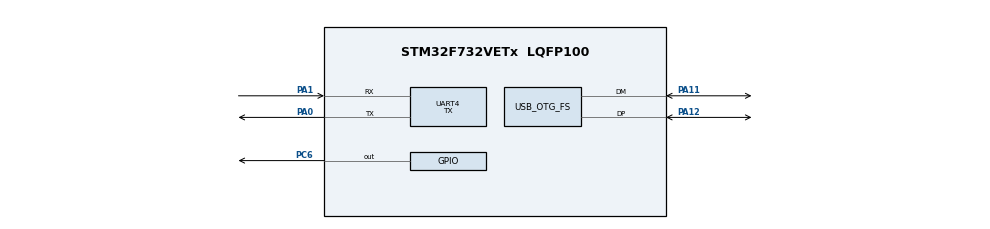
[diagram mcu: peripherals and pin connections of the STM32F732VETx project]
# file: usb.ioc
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Mcu.Family=STM32F7
Mcu.Name=STM32F732VETx
Mcu.Package=LQFP100
NVIC.OTG_FS_IRQn=true\:0\:0\:false\:false\:true\:false\:true
NVIC.PriorityGroup=NVIC_PRIORITYGROUP_4
PA0-WKUP.Mode=Asynchronous
PA0-WKUP.Signal=UART4_TX
PA1.Mode=Asynchronous
PA1.Signal=UART4_RX
PA11.Mode=Host_Only
PA11.Signal=USB_OTG_FS_DM
PA12.Mode=Host_Only
PA12.Signal=USB_OTG_FS_DP
PC6.Signal=GPIO_Output
ProjectManager.HeapSize=0x200
ProjectManager.StackSize=0x400
ProjectManager.TargetToolchain=STM32CubeIDE
RCC.HSE_VALUE=25000000
RCC.HSI_VALUE=16000000
RCC.PLLM=15
RCC.PLLN=135
RCC.PLLQ=3
RCC.PLLSourceVirtualString=RCC_PLLSOURCE_HSI
RCC.USBFreq_Value=48000000
RCC.VCOOutputFreq_Value=144000000
UART4.Mode=MODE_TX
USB_HOST.BSP.number=1
USB_HOST.USBH_HandleTypeDef-MSC_FS=hUsbHostFS
USB_HOST.VirtualModeFS=Msc
USB_HOST0.BSP.STBoard=false
USB_HOST0.BSP.api=Unknown
USB_HOST0.BSP.i2caddr=0
USB_HOST0.BSP.instance=PC6
USB_HOST0.BSP.ip=GPIO
USB_HOST0.BSP.mode=Output
USB_HOST0.BSP.name=Drive_VBUS_FS
USB_HOST0.BSP.solution=PC6
USB_OTG_FS.VirtualMode=Host_Only
USB_OTG_FS.phy_itface=HCD_PHY_EMBEDDED
VP_FATFS_VS_USB.Mode=USB
VP_USB_HOST_VS_USB_HOST_MSC_FS.Mode=MSC_FS
board=custom

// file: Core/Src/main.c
/* USER CODE BEGIN Header */
/**
  ******************************************************************************
  * @file           : main.c
  * @brief          : Main program body
  ******************************************************************************
  * @attention
  *
  * <h2><center>&copy; Copyright (c) 2021 STMicroelectronics.
  * All rights reserved.</center></h2>
  *
  * This software component is licensed by ST under BSD 3-Clause license,
  * the "License"; You may not use this file except in compliance with the
  * License. You may obtain a copy of the License at:
  *                        opensource.org/licenses/BSD-3-Clause
  *
  ******************************************************************************
  */
/* USER CODE END Header */
#include "main.h"
#include "fatfs.h"
#include "usb_host.h"

/* USER CODE BEGIN Includes */
#include "flash_if.h"
#include "commands.h"
#include "log.h"
#include "Config.h"
#include "bootloader.h"
/* USER CODE END Includes */

UART_HandleTypeDef huart4;

/* USER CODE BEGIN PV */
#ifdef __GNUC__
/* With GCC, small printf (option LD Linker->Libraries->Small printf
   set to 'Yes') calls __io_putchar() */
#define PUTCHAR_PROTOTYPE int __io_putchar(int ch)
#else
#define PUTCHAR_PROTOTYPE int fputc(int ch, FILE *f)
#endif /* __GNUC__ */

PUTCHAR_PROTOTYPE
{
  /* Place your implementation of fputc here */
  /* e.g. write a character to the USART3 and Loop until the end of transmission */
  HAL_UART_Transmit(&huart4, (uint8_t *)&ch, 1, 0xFFFF);

  return ch;
}

extern ApplicationTypeDef Appli_state;
/* USER CODE END PV */

void SystemClock_Config(void);
static void MX_GPIO_Init(void);
static void MX_UART4_Init(void);
void MX_USB_HOST_Process(void);

/* USER CODE BEGIN PFP */
static void USBEventHandler(void);
/* USER CODE END PFP */

int main(void)
{

  /* MCU Configuration--------------------------------------------------------*/

  /* Reset of all peripherals, Initializes the Flash interface and the Systick. */
  HAL_Init();

  /* Configure the system clock */
  SystemClock_Config();

  /* Initialize all configured peripherals */
  MX_GPIO_Init();
  MX_FATFS_Init();
  MX_USB_HOST_Init();
  MX_UART4_Init();
  /* USER CODE BEGIN 2 */
	BOOT_LOG("USB BOOTLOADER..\r\n");
	printf("Please insert USB stick in 10 seconds\r\n");
	while(1)
	{
		MX_USB_HOST_Process();
		USBEventHandler();
		if(no_usb_detected())
		{
			printf("No USB stick found..");
			printf("Exiting USB BOOTLOADER\r\n");
			BootAppImage();
			printf("starting user application\r\n");
			break;
		}
	}
  /* USER CODE END 2 */

  /* Infinite loop */
  while (1)
  {
    MX_USB_HOST_Process();

    /* USER CODE BEGIN 3 */
    //If code reaches here..
    //Reboot the hardware and connect the USB within couple of seconds.
  }
  /* USER CODE END 3 */
}

void SystemClock_Config(void)
{
  RCC_OscInitTypeDef RCC_OscInitStruct = {0};
  RCC_ClkInitTypeDef RCC_ClkInitStruct = {0};
  RCC_PeriphCLKInitTypeDef PeriphClkInitStruct = {0};

  /** Configure the main internal regulator output voltage
  */
  __HAL_RCC_PWR_CLK_ENABLE();
  __HAL_PWR_VOLTAGESCALING_CONFIG(PWR_REGULATOR_VOLTAGE_SCALE3);
  /** Initializes the RCC Oscillators according to the specified parameters
  * in the RCC_OscInitTypeDef structure.
  */
  RCC_OscInitStruct.OscillatorType = RCC_OSCILLATORTYPE_HSI;
  RCC_OscInitStruct.HSIState = RCC_HSI_ON;
  RCC_OscInitStruct.HSICalibrationValue = RCC_HSICALIBRATION_DEFAULT;
  RCC_OscInitStruct.PLL.PLLState = RCC_PLL_ON;
  RCC_OscInitStruct.PLL.PLLSource = RCC_PLLSOURCE_HSI;
  RCC_OscInitStruct.PLL.PLLM = 15;
  RCC_OscInitStruct.PLL.PLLN = 135;
  RCC_OscInitStruct.PLL.PLLP = RCC_PLLP_DIV2;
  RCC_OscInitStruct.PLL.PLLQ = 3;
  if (HAL_RCC_OscConfig(&RCC_OscInitStruct) != HAL_OK)
  {
    Error_Handler();
  }
  /** Initializes the CPU, AHB and APB buses clocks
  */
  RCC_ClkInitStruct.ClockType = RCC_CLOCKTYPE_HCLK|RCC_CLOCKTYPE_SYSCLK
                              |RCC_CLOCKTYPE_PCLK1|RCC_CLOCKTYPE_PCLK2;
  RCC_ClkInitStruct.SYSCLKSource = RCC_SYSCLKSOURCE_HSI;
  RCC_ClkInitStruct.AHBCLKDivider = RCC_SYSCLK_DIV1;
  RCC_ClkInitStruct.APB1CLKDivider = RCC_HCLK_DIV1;
  RCC_ClkInitStruct.APB2CLKDivider = RCC_HCLK_DIV1;

  if (HAL_RCC_ClockConfig(&RCC_ClkInitStruct, FLASH_LATENCY_0) != HAL_OK)
  {
    Error_Handler();
  }
  PeriphClkInitStruct.PeriphClockSelection = RCC_PERIPHCLK_UART4|RCC_PERIPHCLK_CLK48;
  PeriphClkInitStruct.Uart4ClockSelection = RCC_UART4CLKSOURCE_PCLK1;
  PeriphClkInitStruct.Clk48ClockSelection = RCC_CLK48SOURCE_PLL;
  if (HAL_RCCEx_PeriphCLKConfig(&PeriphClkInitStruct) != HAL_OK)
  {
    Error_Handler();
  }
}

static void MX_UART4_Init(void)
{

  huart4.Instance = UART4;
  huart4.Init.BaudRate = 115200;
  huart4.Init.WordLength = UART_WORDLENGTH_8B;
  huart4.Init.StopBits = UART_STOPBITS_1;
  huart4.Init.Parity = UART_PARITY_NONE;
  huart4.Init.Mode = UART_MODE_TX;
  huart4.Init.HwFlowCtl = UART_HWCONTROL_NONE;
  huart4.Init.OverSampling = UART_OVERSAMPLING_16;
  huart4.Init.OneBitSampling = UART_ONE_BIT_SAMPLE_DISABLE;
  huart4.AdvancedInit.AdvFeatureInit = UART_ADVFEATURE_NO_INIT;
  if (HAL_UART_Init(&huart4) != HAL_OK)
  {
    Error_Handler();
  }

}

static void MX_GPIO_Init(void)
{
  GPIO_InitTypeDef GPIO_InitStruct = {0};

  /* GPIO Ports Clock Enable */
  __HAL_RCC_GPIOA_CLK_ENABLE();
  __HAL_RCC_GPIOC_CLK_ENABLE();

  /*Configure GPIO pin Output Level */
  HAL_GPIO_WritePin(GPIOC, GPIO_PIN_6, GPIO_PIN_RESET);

  /*Configure GPIO pin : PC6 */
  GPIO_InitStruct.Pin = GPIO_PIN_6;
  GPIO_InitStruct.Mode = GPIO_MODE_OUTPUT_PP;
  GPIO_InitStruct.Pull = GPIO_NOPULL;
  GPIO_InitStruct.Speed = GPIO_SPEED_FREQ_LOW;
  HAL_GPIO_Init(GPIOC, &GPIO_InitStruct);

}

/* USER CODE BEGIN 4 */
void USBEventHandler(void)
{
	switch(Appli_state)
	{
		case APPLICATION_IDLE:
			break;

		case APPLICATION_START:
			if(COMMAND_PREPARE_USB() == 0)
			{
				//
			}
			break;

		case APPLICATION_READY:
			BOOT_LOG("PREPARING TO DOWNLOAD APPLICATION IMAGE\r\n");
			COMMAND_DOWNLOAD();
			break;

		case APPLICATION_DISCONNECT:
			//
			break;
	}
}
/* USER CODE END 4 */

void Error_Handler(void)
{
}

/************************ (C) COPYRIGHT STMicroelectronics *****END OF FILE****/
